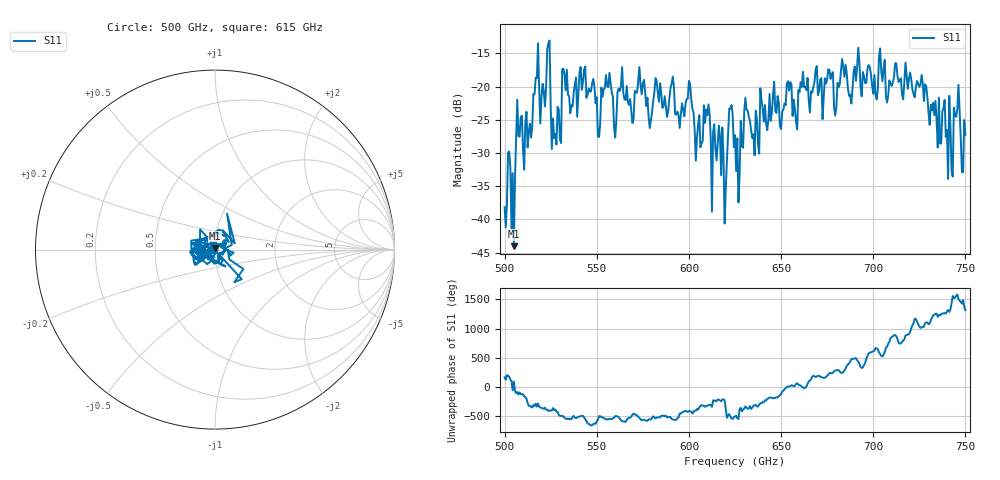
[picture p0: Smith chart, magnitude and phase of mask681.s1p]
!Created with skrf (http://scikit-rf.org).
# GHz S MA R 50.0
!freq magS11 angS11
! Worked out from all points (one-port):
!   401 points, 500 GHz to 750 GHz, reference 50 ohm
!   lowest |S11| = -44.0 dB at 505 GHz (marker M1), VSWR 1.01, Z = 50 + j0.628 ohm
!   |S11| at or under -10 dB: start of sweep to end of sweep
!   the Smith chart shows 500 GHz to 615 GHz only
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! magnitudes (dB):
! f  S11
! 500 GHz  -38.1
! 505 GHz  -44.0
! 507.5 GHz  -27.5
! 513.8 GHz  -25.6
! 516.9 GHz  -18.7
! 520.6 GHz  -19.6
! 523.8 GHz  -13.5
! 526.9 GHz  -27.8
! 531.2 GHz  -17.4
! 542.5 GHz  -19.3
! 550.6 GHz  -27.5
! 562.5 GHz  -20.7
! 590.6 GHz  -19.5
! 593.8 GHz  -23.8
! 609.4 GHz  -23.4
! 618.8 GHz  -30.5
! 622.5 GHz  -23.3
! 625 GHz  -27.3
! 656.2 GHz  -24.4
! 676.9 GHz  -18.9
! 680 GHz  -23.1
! 683.8 GHz  -17.1
! 687.5 GHz  -21.2
! 691.2 GHz  -17.1
! 718.8 GHz  -20.3
! 741.9 GHz  -25.9
! 745 GHz  -24.6
! 750 GHz  -27.3
